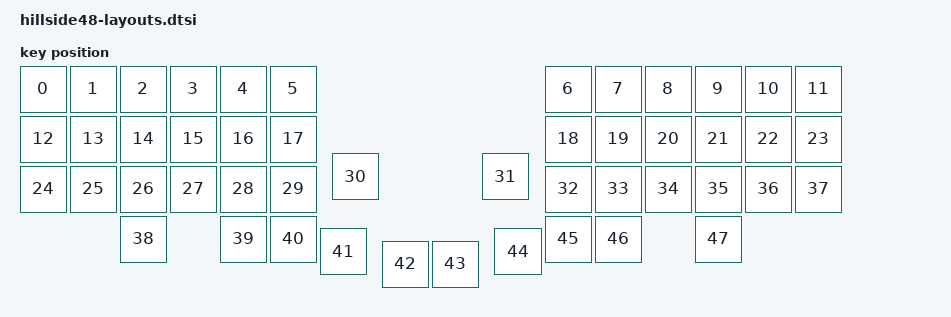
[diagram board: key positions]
/*
 * Copyright (c) 2024 The ZMK Contributors
 *
 * SPDX-License-Identifier: MIT
 */

#include <physical_layouts.dtsi>

/ {
    hillside48_physical_layout: hillside48_physical_layout {
        compatible = "zmk,physical-layout";
        display-name = "Default";

        keys  //                     w   h    x    y     rot    rx    ry
            // Row 0 - Left side (6 keys)
            = <&key_physical_attrs 100 100    0    0       0     0     0>
            , <&key_physical_attrs 100 100  100    0       0     0     0>
            , <&key_physical_attrs 100 100  200    0       0     0     0>
            , <&key_physical_attrs 100 100  300    0       0     0     0>
            , <&key_physical_attrs 100 100  400    0       0     0     0>
            , <&key_physical_attrs 100 100  500    0       0     0     0>
            // Row 0 - Right side (6 keys)
            , <&key_physical_attrs 100 100 1050    0       0     0     0>
            , <&key_physical_attrs 100 100 1150    0       0     0     0>
            , <&key_physical_attrs 100 100 1250    0       0     0     0>
            , <&key_physical_attrs 100 100 1350    0       0     0     0>
            , <&key_physical_attrs 100 100 1450    0       0     0     0>
            , <&key_physical_attrs 100 100 1550    0       0     0     0>
            // Row 1 - Left side (6 keys)
            , <&key_physical_attrs 100 100    0  100       0     0     0>
            , <&key_physical_attrs 100 100  100  100       0     0     0>
            , <&key_physical_attrs 100 100  200  100       0     0     0>
            , <&key_physical_attrs 100 100  300  100       0     0     0>
            , <&key_physical_attrs 100 100  400  100       0     0     0>
            , <&key_physical_attrs 100 100  500  100       0     0     0>
            // Row 1 - Right side (6 keys)
            , <&key_physical_attrs 100 100 1050  100       0     0     0>
            , <&key_physical_attrs 100 100 1150  100       0     0     0>
            , <&key_physical_attrs 100 100 1250  100       0     0     0>
            , <&key_physical_attrs 100 100 1350  100       0     0     0>
            , <&key_physical_attrs 100 100 1450  100       0     0     0>
            , <&key_physical_attrs 100 100 1550  100       0     0     0>
            // Row 2 - Left side (6 keys + 1 inner thumb)
            , <&key_physical_attrs 100 100    0  200       0     0     0>
            , <&key_physical_attrs 100 100  100  200       0     0     0>
            , <&key_physical_attrs 100 100  200  200       0     0     0>
            , <&key_physical_attrs 100 100  300  200       0     0     0>
            , <&key_physical_attrs 100 100  400  200       0     0     0>
            , <&key_physical_attrs 100 100  500  200       0     0     0>
            , <&key_physical_attrs 100 100  625  175       0     0     0>
            // Row 2 - Right side (1 inner thumb + 6 keys)
            , <&key_physical_attrs 100 100  925  175       0     0     0>
            , <&key_physical_attrs 100 100 1050  200       0     0     0>
            , <&key_physical_attrs 100 100 1150  200       0     0     0>
            , <&key_physical_attrs 100 100 1250  200       0     0     0>
            , <&key_physical_attrs 100 100 1350  200       0     0     0>
            , <&key_physical_attrs 100 100 1450  200       0     0     0>
            , <&key_physical_attrs 100 100 1550  200       0     0     0>
            // Row 3 - Left thumb cluster (encoder + 4 keys)
            , <&key_physical_attrs 100 100  200  300       0     0     0>
            , <&key_physical_attrs 100 100  400  300       0     0     0>
            , <&key_physical_attrs 100 100  500  300       0     0     0>
            , <&key_physical_attrs 100 100  600  325       0     0     0>
            , <&key_physical_attrs 100 100  725  350       0     0     0>
            // Row 3 - Right thumb cluster (4 keys + encoder)
            , <&key_physical_attrs 100 100  825  350       0     0     0>
            , <&key_physical_attrs 100 100  950  325       0     0     0>
            , <&key_physical_attrs 100 100 1050  300       0     0     0>
            , <&key_physical_attrs 100 100 1150  300       0     0     0>
            , <&key_physical_attrs 100 100 1350  300       0     0     0>
            ;
    };
};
